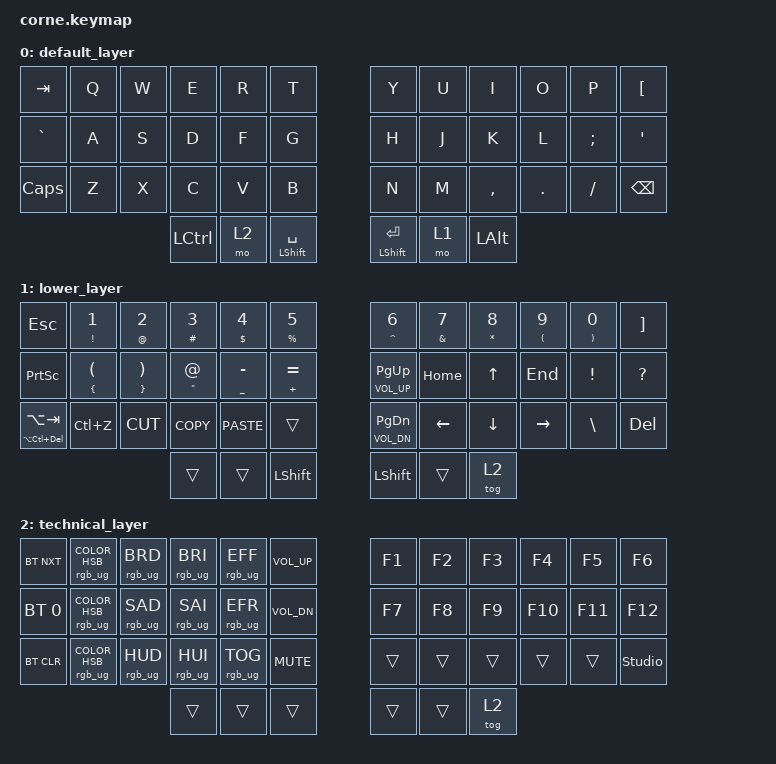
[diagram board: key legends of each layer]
/*
 * Copyright (c) 2020 The ZMK Contributors
 *
 * SPDX-License-Identifier: MIT
 */

#include <behaviors.dtsi>
#include <dt-bindings/zmk/bt.h>
#include <dt-bindings/zmk/keys.h>
#include <dt-bindings/zmk/rgb.h>

/ {
    behaviors {
        tp: tap_preferred {
            compatible = "zmk,behavior-hold-tap";
            label = "TAP_PREFERRED";
            #binding-cells = <2>;
            tapping-term-ms = <150>;
            quick-tap-ms = <0>;
            flavor = "tap-preferred";
            bindings = <&kp>, <&kp>;
        };
    };

    keymap {
        compatible = "zmk,keymap";

        default_layer {
            // -----------------------------------------------------------------------------------------
            // | TAB  |  Q  |  W  |  E  |  R  |    T    |   |  Y  |  U   |  I  |  O  |  P  | ESC |
            // | CTRL |  A  |  S  |  D  |  F  |    G    |   |  H  |  J   |  K  |  L  |  ;  |  LWR/'   |
            // | SHFT |  Z  |  X  |  C  |  V  |    B    |   |  N  |  M   |  ,  |  .  |  /  | SHFT |
            //                    | GUI | LWR | ALT/ENT |   | HYPER/SPC | BKSP  | RSE |

            bindings = <
&kp TAB    &kp Q  &kp W  &kp E      &kp R  &kp T              &kp Y            &kp U  &kp I      &kp O    &kp P     &kp LBKT
&kp GRAVE  &kp A  &kp S  &kp D      &kp F  &kp G              &kp H            &kp J  &kp K      &kp L    &kp SEMI  &kp SQT
&kp CAPS   &kp Z  &kp X  &kp C      &kp V  &kp B              &kp N            &kp M  &kp COMMA  &kp DOT  &kp FSLH  &kp BSPC
                         &kp LCTRL  &mo 2  &mt LSHFT SPACE    &mt LSHFT ENTER  &mo 1  &kp LALT
            >;
        };

        lower_layer {
            bindings = <
&kp ESC                  &mt EXCL N1          &mt AT N2             &mt HASH N3           &mt DLLR N4      &mt PRCNT N5      &mt CARET N6        &mt AMPS N7  &mt STAR N8  &mt LPAR N9  &mt RPAR N0      &kp RBKT
&kp PSCRN                &mt LEFT_BRACE LPAR  &mt RIGHT_BRACE RPAR  &mt DOUBLE_QUOTES AT  &mt UNDER MINUS  &mt PLUS EQUAL    &mt C_VOL_UP PG_UP  &kp HOME     &kp UP       &kp END      &kp EXCLAMATION  &kp QUESTION
&mt LA(LC(DEL)) LA(TAB)  &kp LC(Z)            &kp K_CUT             &kp K_COPY            &kp K_PASTE      &trans            &mt C_VOL_DN PG_DN  &kp LEFT     &kp DOWN     &kp RIGHT    &kp BSLH         &kp DEL
                                                                    &trans                &trans           &kp LSHFT         &kp LSHFT           &trans       &tog 2
            >;
        };

        technical_layer {
            bindings = <
&bt BT_NXT    &rgb_ug RGB_COLOR_HSB(0,100,50)   &rgb_ug RGB_BRD  &rgb_ug RGB_BRI  &rgb_ug RGB_EFF  &kp C_VOL_UP    &kp F1  &kp F2  &kp F3  &kp F4   &kp F5   &kp F6
&bt BT_SEL 0  &rgb_ug RGB_COLOR_HSB(52,100,50)  &rgb_ug RGB_SAD  &rgb_ug RGB_SAI  &rgb_ug RGB_EFR  &kp C_VOL_DN    &kp F7  &kp F8  &kp F9  &kp F10  &kp F11  &kp F12
&bt BT_CLR    &rgb_ug RGB_COLOR_HSB(77,100,44)  &rgb_ug RGB_HUD  &rgb_ug RGB_HUI  &rgb_ug RGB_TOG  &kp K_MUTE      &trans  &trans  &trans  &trans   &trans   &studio_unlock
                                                                 &trans           &trans           &trans          &trans  &trans  &tog 2
            >;
        };
    };
};
